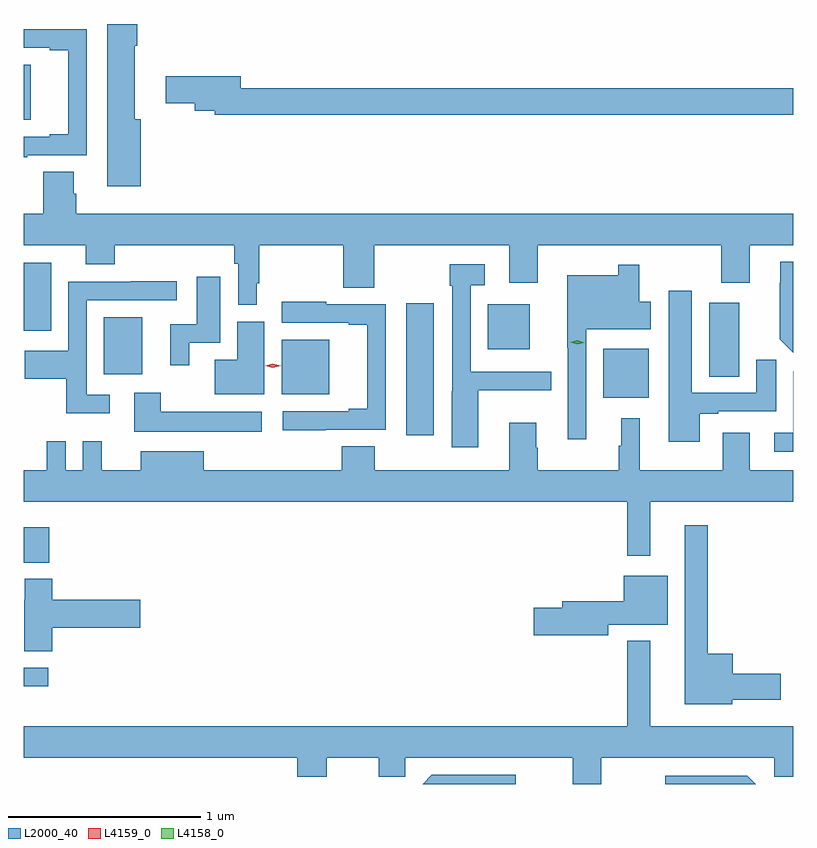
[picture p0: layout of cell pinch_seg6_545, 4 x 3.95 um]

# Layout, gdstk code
import gdstk
lib = gdstk.Library(unit=1e-6, precision=1e-09)
def R(c, l, rs):  # rectangles x0, y0, x1, y1
    for r in rs: c.add(gdstk.rectangle(r[:2], r[2:], *l))
def P(c, l, *ps):  # polygons
    for p in ps: c.add(gdstk.Polygon(p, *l))
L2000_40 = (2000, 40)
L4158_0 = (4158, 0)
L4159_0 = (4159, 0)

pinch_seg6_545 = lib.new_cell('pinch_seg6_545')
R(pinch_seg6_545, L2000_40, [(616.232,994.329,616.36,994.425), (616.232,994.971,616.364,995.155), (618.221,995.634,618.364,996.319), (619.244,995.828,619.48,996.082), (617.573,995.846,617.821,996.13), (619.796,995.938,619.951,996.322), (616.649,995.951,616.849,996.247), (618.644,996.08,618.862,996.313), (616.232,996.176,616.375,996.529), (616.232,997.274,616.267,997.558)])
P(pinch_seg6_545, L2000_40, [(616.841,997.275),(616.81,997.275),(616.81,997.658),(616.823,997.658),(616.823,997.771),(616.667,997.771),(616.667,996.927),(616.841,996.927)],
  [(616.25,997.089),(616.56,997.089),(616.56,997.743),(616.247,997.743),(616.247,997.745),(616.232,997.745),(616.232,997.647),(616.367,997.647),(616.367,997.635),(616.463,997.635),(616.463,997.198),(616.367,997.198),(616.367,997.185),(616.232,997.185),(616.232,997.077),(616.25,997.077)],
  [(620.232,997.436),(617.359,997.436),(617.359,997.5),(616.971,997.5),(616.971,997.358),(617.12,997.358),(617.12,997.319),(617.224,997.319),(617.224,997.3),(620.232,997.3)],
  [(617.443,996.424),(617.455,996.424),(617.455,996.62),(617.893,996.62),(617.893,996.4),(618.054,996.4),(618.054,996.62),(618.755,996.62),(618.755,996.426),(618.904,996.426),(618.904,996.62),(619.858,996.62),(619.858,996.426),(620.005,996.426),(620.005,996.62),(620.232,996.62),(620.232,996.784),(616.505,996.784),(616.505,996.888),(616.492,996.888),(616.492,997.004),(616.334,997.004),(616.334,996.784),(616.232,996.784),(616.232,996.62),(616.553,996.62),(616.553,996.521),(616.706,996.521),(616.706,996.62),(617.326,996.62),(617.326,996.524),(617.346,996.524),(617.346,996.312),(617.443,996.312)],
  [(620.232,996.535),(620.165,996.535),(620.165,996.425),(620.162,996.425),(620.162,996.133),(620.232,996.063)],
  [(618.595,995.867),(618.974,995.867),(618.974,995.964),(618.555,995.964),(618.555,996.413),(618.628,996.413),(618.628,996.523),(618.447,996.523),(618.447,996.41),(618.459,996.41),(618.459,995.861),(618.458,995.861),(618.458,995.571),(618.595,995.571)],
  [(619.155,996.185),(619.492,996.185),(619.492,996.327),(619.432,996.327),(619.432,996.52),(619.323,996.52),(619.323,996.466),(619.058,996.466),(619.058,996.089),(619.059,996.089),(619.059,995.613),(619.155,995.613)],
  [(617.092,996.114),(617.254,996.114),(617.254,996.457),(617.132,996.457),(617.132,996.21),(616.994,996.21),(616.994,995.997),(617.092,995.997)],
  [(616.678,995.844),(616.56,995.844),(616.56,996.336),(617.026,996.336),(617.026,996.434),(616.789,996.434),(616.789,996.432),(616.464,996.432),(616.464,996.073),(616.237,996.073),(616.237,995.926),(616.452,995.926),(616.452,995.747),(616.678,995.747)],
  [(619.747,995.745),(619.843,995.745),(619.843,995.757),(620.143,995.757),(620.143,996.025),(620.039,996.025),(620.039,995.853),(619.705,995.853),(619.705,996.385),(619.586,996.385),(619.586,995.598),(619.747,995.598)],
  [(617.801,995.661),(618.114,995.661),(618.114,996.315),(617.804,996.315),(617.804,996.328),(617.574,996.328),(617.574,996.219),(617.921,996.219),(617.921,996.207),(618.017,996.207),(618.017,995.77),(617.921,995.77),(617.921,995.757),(617.577,995.757),(617.577,995.66),(617.801,995.66)],
  [(617.482,996.223),(617.342,996.223),(617.342,996.025),(617.225,996.025),(617.225,995.846),(617.482,995.846)],
  [(620.232,995.966),(620.231,995.966),(620.231,995.647),(620.133,995.647),(620.133,995.546),(620.232,995.546)],
  [(617.47,995.755),(616.945,995.755),(616.945,995.854),(616.805,995.854),(616.805,995.651),(617.47,995.651)],
  [(619.489,995.288),(620.232,995.288),(620.232,995.452),(620.005,995.452),(620.005,995.647),(619.865,995.647),(619.865,995.452),(619.435,995.452),(619.435,995.722),(619.337,995.722),(619.337,995.579),(619.326,995.579),(619.326,995.452),(618.903,995.452),(618.903,995.567),(618.895,995.567),(618.895,995.698),(618.755,995.698),(618.755,995.452),(618.057,995.452),(618.057,995.576),(617.885,995.576),(617.885,995.452),(617.167,995.452),(617.167,995.551),(616.841,995.551),(616.841,995.452),(616.637,995.452),(616.637,995.602),(616.539,995.602),(616.539,995.452),(616.449,995.452),(616.449,995.602),(616.352,995.602),(616.352,995.452),(616.232,995.452),(616.232,995.288),(619.368,995.288),(619.368,995.007),(619.489,995.007)],
  [(619.914,994.259),(620.167,994.259),(620.167,994.394),(619.918,994.394),(619.918,994.498),(619.789,994.498),(619.789,995.164),(619.667,995.164),(619.667,994.235),(619.914,994.235)],
  [(619.27,994.649),(619.579,994.649),(619.579,994.903),(619.352,994.903),(619.352,994.771),(619.031,994.771),(619.031,994.736),(618.882,994.736),(618.882,994.594),(619.27,994.594)],
  [(616.379,994.631),(616.837,994.631),(616.837,994.778),(616.379,994.778),(616.379,994.886),(616.236,994.886),(616.236,994.778),(616.235,994.778),(616.235,994.51),(616.379,994.51)],
  [(619.233,993.956),(620.133,993.956),(620.133,993.858),(620.232,993.858),(620.232,994.12),(619.489,994.12),(619.489,994.564),(619.368,994.564),(619.368,994.12),(616.232,994.12),(616.232,993.956),(617.654,993.956),(617.654,993.857),(617.806,993.857),(617.806,993.956),(618.077,993.956),(618.077,993.858),(618.216,993.858),(618.216,993.956),(619.085,993.956),(619.085,993.82),(619.233,993.82)],
  [(618.79,993.867),(618.353,993.867),(618.306,993.82),(618.79,993.82)],
  [(619.992,993.864),(619.566,993.864),(619.566,993.82),(620.036,993.82)])
P(pinch_seg6_545, L4158_0, [(619.109,996.105),(619.074,996.117),(619.073,996.117),(619.074,996.117),(619.11,996.126),(619.145,996.114),(619.145,996.114),(619.145,996.114)])
P(pinch_seg6_545, L4159_0, [(617.527,995.984),(617.488,995.994),(617.488,995.994),(617.488,995.994),(617.527,996.004),(617.567,995.994),(617.567,995.994),(617.567,995.994)])

lib.write_gds('pinch_seg6_545.gds')
